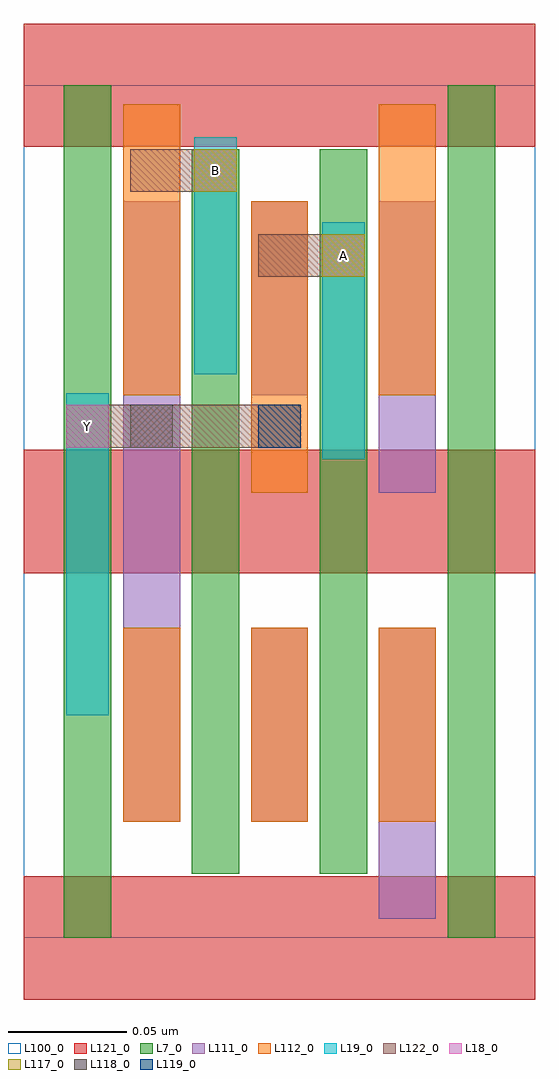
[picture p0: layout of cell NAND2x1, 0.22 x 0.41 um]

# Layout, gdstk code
import gdstk
lib = gdstk.Library(unit=1e-6, precision=2.5e-10)
def R(c, l, rs):  # rectangles x0, y0, x1, y1
    for r in rs: c.add(gdstk.rectangle(r[:2], r[2:], *l))
def A(c, l, x, y, w, h, nx, ny, dx, dy):  # array of equal rectangles
    R(c, l, [(x+i*dx, y+j*dy, x+i*dx+w, y+j*dy+h) for i in range(nx) for j in range(ny)])
L7_0 = (7, 0)
L18_0 = (18, 0)
L19_0 = (19, 0)
L100_0 = (100, 0)
L111_0 = (111, 0)
L112_0 = (112, 0)
L117_0 = (117, 0)
L118_0 = (118, 0)
L119_0 = (119, 0)
L121_0 = (121, 0)
L122_0 = (122, 0)

nand2x1 = lib.new_cell('NAND2x1')
R(nand2x1, L7_0, [(0.017,0,0.037,0.18), (0.179,0,0.199,0.18), (0.071,0.027,0.091,0.18), (0.125,0.027,0.145,0.18), (0.017,0.18,0.037,0.36), (0.071,0.18,0.091,0.333), (0.125,0.18,0.145,0.333), (0.179,0.18,0.199,0.36)])
R(nand2x1, L18_0, [(0.018,0.207,0.036,0.225), (0.126,0.279,0.144,0.297), (0.072,0.315,0.09,0.333)])
R(nand2x1, L19_0, [(0.018,0.094,0.036,0.23), (0.126,0.202,0.144,0.302), (0.072,0.238,0.09,0.338)])
R(nand2x1, L100_0, [(0,0,0.216,0.36)])
R(nand2x1, L111_0, [(0.15,0.008,0.174,0.131), (0.042,0.049,0.066,0.18), (0.096,0.049,0.12,0.131), (0.042,0.18,0.066,0.311), (0.15,0.188,0.174,0.311), (0.096,0.229,0.12,0.311)])
A(nand2x1, L112_0, 0.042, 0.049, 0.024, 0.082, 3, 1, 0.054, 0)
R(nand2x1, L112_0, [(0.096,0.188,0.12,0.311), (0.042,0.229,0.066,0.352), (0.15,0.229,0.174,0.352)])
R(nand2x1, L117_0, [(0.126,0.279,0.144,0.297), (0.072,0.315,0.09,0.333)])
R(nand2x1, L118_0, [(0.045,0.207,0.063,0.225)])
R(nand2x1, L119_0, [(0.099,0.207,0.117,0.225)])
A(nand2x1, L121_0, 0, -0.026, 0.216, 0.052, 1, 3, 0, 0.18)
R(nand2x1, L122_0, [(0.018,0.207,0.117,0.225), (0.099,0.279,0.144,0.297), (0.045,0.315,0.09,0.333)])
nand2x1.add(gdstk.Label('Y', (0.027,0.216), layer=19, texttype=251))
nand2x1.add(gdstk.Label('B', (0.081,0.324), layer=19, texttype=251))
nand2x1.add(gdstk.Label('A', (0.135,0.288), layer=19, texttype=251))

lib.write_gds('NAND2x1.gds')
